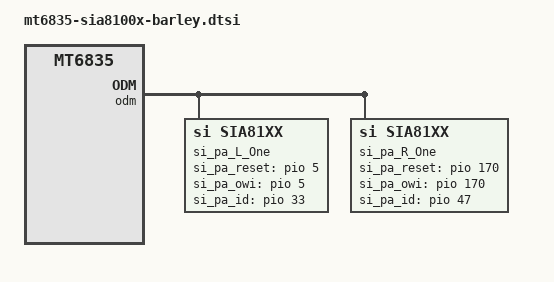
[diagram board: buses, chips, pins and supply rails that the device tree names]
/* Copyright (c) 2018, The Linux Foundation. All rights reserved.
 *
 * This program is free software; you can redistribute it and/or modify
 * it under the terms of the GNU General Public License version 2 and
 * only version 2 as published by the Free Software Foundation.
 *
 * This program is distributed in the hope that it will be useful,
 * but WITHOUT ANY WARRANTY; without even the implied warranty of
 * MERCHANTABILITY or FITNESS FOR A PARTICULAR PURPOSE.  See the
 * GNU General Public License for more details.
 */

&pio {
	sia81xx_gpio_L_One: sia81xx_gpio_L_One {
		pins_cmd_dat {
			pinmux = <PINMUX_GPIO5__FUNC_GPIO5>;
			slew-rate = <1>;  	//direction: 0--in,1--out
			bias-disable;		//bias-pull-up,bias-pull-down,bias-disable: no-pull
		};
	};
	sia81xx_gpio_R_One: sia81xx_gpio_R_One {
		pins_cmd_dat {
			pinmux = <PINMUX_GPIO170__FUNC_GPIO170>;
			slew-rate = <1>;
			bias-disable;
		};
	};
	sia81xx_gpio_L_id: sia81xx_gpio_L_id {
		pins_cmd_dat {
			pinmux = <PINMUX_GPIO33__FUNC_GPIO33>;
			slew-rate = <0>;
			bias-pull-up;
		};
	};
	sia81xx_gpio_R_id: sia81xx_gpio_R_id {
		pins_cmd_dat {
			pinmux = <PINMUX_GPIO47__FUNC_GPIO47>;
			slew-rate = <0>;
			bias-pull-up;
		};
	};
};

&odm {
	si_pa_L_One: si_pa@L_One{
		compatible = "si,sia81xx";
		si,si_pa_type = "sia8100x";
		si,si_pa_reset = <&pio 5 0>;
		si,si_pa_owi = <&pio 5 0>;
		si,si_pa_id = <&pio 33 0>;
		pinctrl-names = "si_pa_gpio", "si_pa_id";
		pinctrl-0 = <&sia81xx_gpio_L_One>;
		pinctrl-1 = <&sia81xx_gpio_L_id>;
		si,si_pa_disable_pin = <0>;
		en_dynamic_id = <1>;
		channel_num = <0>;
	};
	si_pa_R_One: si_pa@R_One{
		compatible = "si,sia81xx";
		si,si_pa_type = "sia8100x";
		si,si_pa_reset = <&pio 170 0>;
		si,si_pa_owi = <&pio 170 0>;
		si,si_pa_id = <&pio 47 0>;
		pinctrl-names = "si_pa_gpio", "si_pa_id";
		pinctrl-0 = <&sia81xx_gpio_R_One>;
		pinctrl-1 = <&sia81xx_gpio_R_id>;
		si,si_pa_disable_pin = <0>;
		en_dynamic_id = <1>;
		channel_num = <1>;
	};

};

&sound {
		audio_extern_config = <2>;
		si,sia81xx-max-num = <2>;
		si,sia81xx-aux-devs = <&si_pa_L_One>,<&si_pa_R_One>;
		si,sia81xx-aux-devs-prefix = "SpkrLeft_One","SpkrRight_One";
};

/* Barley headset bring up */
&accdet{
	eint_use_ext_res = <1>;
	headset-eint-trig-mode = <2>;
};

&speech_usip_mem{
	adsp-phone-call-enh-enable = <0x0>;
};
